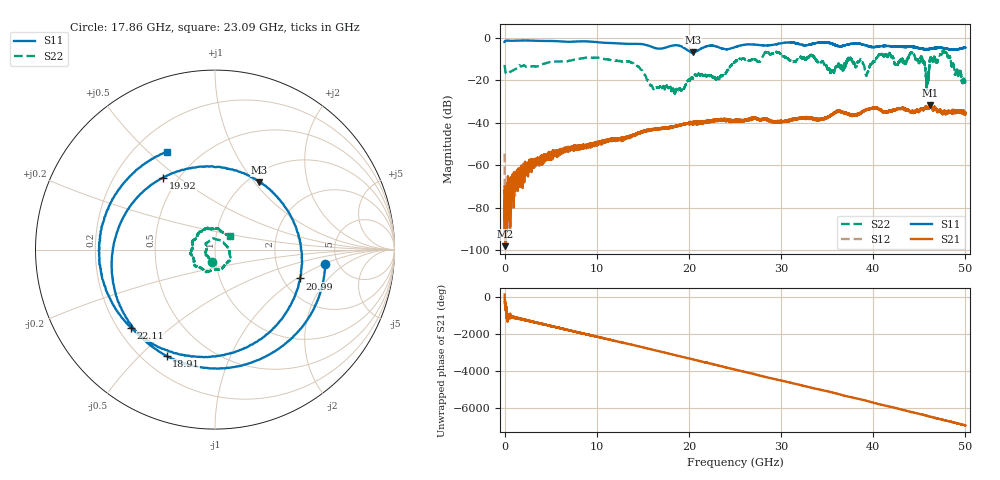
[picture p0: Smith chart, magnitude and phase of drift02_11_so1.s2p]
!Created with skrf (http://scikit-rf.org).
# Hz S RI R 50.0
!freq ReS11 ImS11 ReS21 ImS21 ReS12 ImS12 ReS22 ImS22
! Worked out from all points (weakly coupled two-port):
!   10001 points, 300 kHz to 50 GHz, reference 50 ohm
!   highest |S21| = -31.65 dB at 46.19 GHz (marker M1); lowest = -98.1 dB at 85.3 MHz (marker M2)
!   lowest |S11| = -7.0 dB at 20.42 GHz (marker M3), VSWR 2.63, Z = 56.4 + j53 ohm
!   |S11| at or under -10 dB: nowhere
!   |S22| runs from -26.5 to -6.2 dB; largest |S21 - S12| = 0.0027
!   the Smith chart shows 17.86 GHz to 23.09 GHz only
!   S11 on the Smith chart (normalised r, x): 17.86 GHz: 3.97, -1.04; 18.91 GHz: 0.29, -0.60; 19.92 GHz: 0.41, +0.44; 20.99 GHz: 2.48, -1.06; 22.11 GHz: 0.25, -0.37; 23.09 GHz: 0.33, +0.57
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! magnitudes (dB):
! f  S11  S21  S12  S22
! 300 kHz  -2.1  -70.1  -54.6  -12.9
! 85.3 MHz  -1.5  -98.1  -89.9  -16.0
! 255.3 MHz  -1.4  -84.8  -79.5  -17.0
! 3.02 GHz  -1.4  -59.5  -60.0  -13.4
! 8.335 GHz  -1.7  -52.2  -51.4  -9.8
! 13.71 GHz  -3.0  -46.5  -46.6  -11.6
! 16.67 GHz  -5.2  -42.7  -42.9  -23.5
! 17.86 GHz  -4.2  -42.2  -42.3  -23.0
! 18.91 GHz  -3.7  -41.5  -41.3  -24.3
! 19.92 GHz  -6.1  -40.1  -40.2  -19.9
! 20.42 GHz  -7.0  -40.2  -40.0  -19.1
! 20.99 GHz  -6.0  -40.3  -39.6  -16.9
! 22.11 GHz  -3.9  -39.7  -39.4  -17.6
! 23.09 GHz  -4.3  -39.2  -39.0  -18.9
! 25 GHz  -4.5  -39.3  -39.1  -11.4
! 33.34 GHz  -3.0  -37.6  -37.8  -8.4
! 39.32 GHz  -3.8  -33.7  -33.7  -17.2
! 41.67 GHz  -4.0  -34.5  -34.8  -7.9
! 45.87 GHz  -5.4  -33.0  -33.2  -21.0
! 46.19 GHz  -5.3  -31.7  -31.9  -9.7
! 47.75 GHz  -5.0  -34.7  -34.7  -6.9
! 50 GHz  -4.7  -35.4  -35.9  -19.9
